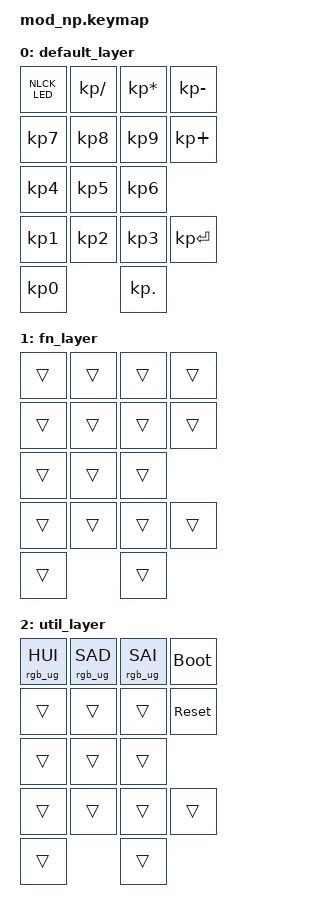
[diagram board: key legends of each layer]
/*
 * copyright (c) 2025 ZMK project contributors
 *
 * SPDX-license-identifier: MIT
 */

#include <behaviors.dtsi>
#include <dt-bindings/zmk/keys.h>
#include <dt-bindings/zmk/rgb.h>

/ {
    macros {
        /* work-around for NUM LOCK LED indicator functionality */
        NLCK_LED: NLCK_LED {
            compatible = "zmk,behavior-macro";
            #binding-cells = <0>;
            bindings =
                <&kp KP_NLCK>,
                <&rgb_ug RGB_TOG>;
        };
    };

    keymap {
        compatible = "zmk,keymap";

        default_layer {
            bindings = <
                &NLCK_LED &kp KP_SLASH &kp KP_ASTERISK &kp KP_MINUS
                &kp KP_N7 &kp KP_N8    &kp KP_N9       &kp KP_PLUS
                &kp KP_N4 &kp KP_N5    &kp KP_N6
                &kp KP_N1 &kp KP_N2    &kp KP_N3       &kp KP_ENTER
                &kp KP_N0              &kp KP_DOT
            >;
        };

        fn_layer {
            bindings = <
                &trans          &trans          &trans          &trans
                &trans          &trans          &trans          &trans
                &trans          &trans          &trans
                &trans          &trans          &trans          &trans
                &trans                          &trans
            >;
        };

        util_layer {
            bindings = <
                &rgb_ug RGB_HUI &rgb_ug RGB_SAD &rgb_ug RGB_SAI &bootloader
                &trans          &trans          &trans          &sys_reset
                &trans          &trans          &trans
                &trans          &trans          &trans          &trans
                &trans                          &trans
            >;
        };
    };
};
